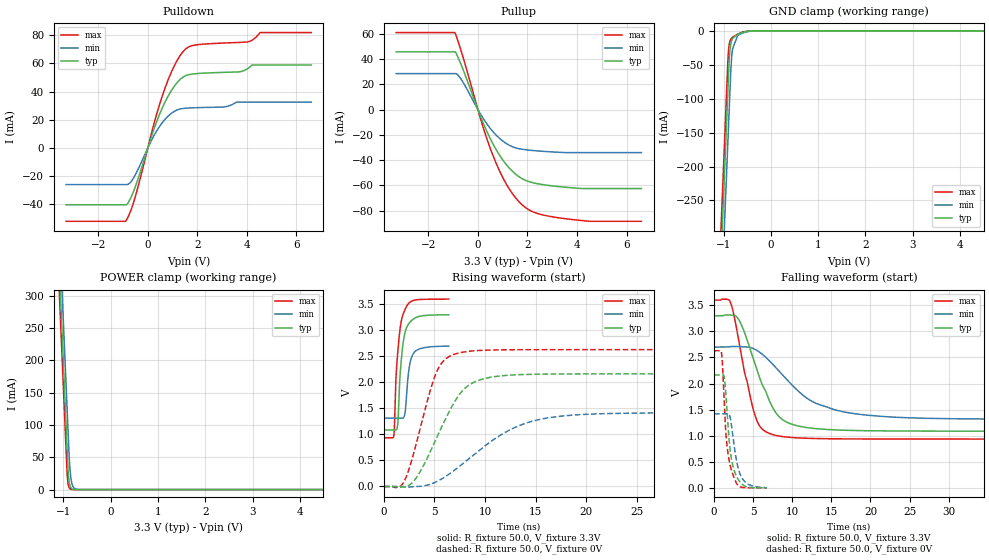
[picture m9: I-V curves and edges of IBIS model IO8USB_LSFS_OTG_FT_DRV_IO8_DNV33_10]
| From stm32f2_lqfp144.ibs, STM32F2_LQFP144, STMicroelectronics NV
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| *** New cell (Generated with 5.14beta1 (Sep 20 2010 13:23:23))
[Model]   IO8USB_LSFS_OTG_FT_DRV_IO8_DNV33_10
Model_type 3-state
Polarity   Non-Inverting
Enable   Active-Low
| CAP_THRESHOLD on pad DPV33 is "CMOS" :
| Rising=10.0% of vddio   Falling=90.0% of vddio
| C_comp min and max val. don't necessarily correlate with the min and max pvt
| but are the smallest and greatest pad capacitance found.
| var   typ   min   max
C_comp   5.85475pF  5.58530pF  6.39105pF
Vmeas = 1.65V   | Reference voltage for timing measurements
Cref  = 400.0pF   | Timing specification test load capacitance value
Rref  = 1.0MOhm   | Timing specification test load resistance value
Vref  = 1.65V   | Timing specification test load voltage
[Model Spec]
| variable   typ   min   max
[Temperature Range] 25.0 125.0 -40.0
| variable   typ   min   max
[Voltage Range] 3.3V 2.7V 3.6V
| variable   typ   min   max
[POWER Clamp Reference] 3.3V 2.7V 3.6V
| variable   typ   min   max
[GND Clamp Reference] 0V 0V 0V
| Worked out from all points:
|   slope of the pulldown table from 0 to 0.495 V, typ, clamps not added: 20 ohm
|   slope of the pullup table from 0 to 0.495 V, typ, clamps not added: 21.7 ohm
|   GND clamp passes 1 mA (typ) near -0.51 V on its own axis
|   POWER clamp passes 1 mA (typ) near -0.81 V on its own axis
|   rising waveform, R_fixture 50.0, V_fixture 3.3V: 20-80 % time 522ps typ, 458ps min, 538ps max; typ from 1.09 V to 3.3 V
|   falling waveform, R_fixture 50.0, V_fixture 3.3V: 20-80 % time 3.36ns typ, 6.4ns min, 2.22ns max; typ from 3.3 V to 1.09 V
|   rising waveform, R_fixture 50.0, V_fixture 0V: 20-80 % time 3.33ns typ, 6.19ns min, 2.23ns max; typ from 0 V to 2.17 V
|   falling waveform, R_fixture 50.0, V_fixture 0V: 20-80 % time 848ps typ, 986ps min, 769ps max; typ from 2.17 V to 0.001 V
[POWER Clamp]
-3.3V     4.11A      4.173A     4.072A
-1.09V    352.5mA    415.9mA    314.5mA
-1.05V    284.5mA    347.9mA    246.5mA
-1.01V    216.5mA    279.9mA    178.5mA
-920mV    63.51mA    126.9mA    25.85mA
-900mV    31.51mA    92.9mA     9.552mA
-890mV    21.35mA    75.9mA     5.807mA
-870mV    9.804mA    44.01mA    2.146mA
-840mV    3.05mA     18.36mA    482.1uA
-780mV    295.2uA    3.193mA    24.34uA
-660mV    2.775uA    96uA       63.85nA
6.6V      0A         0A         0A
[GND Clamp]
-3.3V     -4.155A    -4.23A     -4.11A
-1.06V    -347.4mA   -421.9mA   -301.9mA
-940mV    -143.4mA   -217.9mA   -97.86mA
-910mV    -92.43mA   -166.9mA   -46.86mA
-890mV    -58.43mA   -132.9mA   -25.36mA
-880mV    -43.4mA    -115.9mA   -20.1mA
-860mV    -25.79mA   -81.93mA   -14.41mA
-840mV    -17.12mA   -51.2mA    -11.69mA
-820mV    -12.64mA   -32.88mA   -10.09mA
-700mV    -5.102mA   -6.6mA     -4.73mA
-230mV    -826nA     -13.68uA   -47.8nA
6.6V      45.45nA    5.674uA    302.2pA
| variable   typ   min   max
[Pullup Reference] 3.3V 2.7V 3.6V
| variable   typ   min   max
[Pulldown Reference] 0V 0V 0V
[Pullup]
-3.3V     45.78mA    28.54mA    61.09mA
-930mV    45.78mA    28.54mA    61.09mA
-700mV    36.69mA    24.76mA    47.9mA
120mV     -6.142mA   -4.065mA   -8.189mA
590mV     -26.5mA    -17.07mA   -35.52mA
1.18V     -44.36mA   -27.27mA   -60.11mA
1.54V     -51.43mA   -30.39mA   -70.35mA
1.89V     -55.75mA   -31.69mA   -77.18mA
2.48V     -58.98mA   -32.83mA   -82.75mA
3.6V      -61.62mA   -34.07mA   -86.61mA
4.51V     -62.54mA   -34.07mA   -88.51mA
6.6V      -62.54mA   -34.07mA   -88.51mA
[Pulldown]
-3.3V     -40.26mA   -25.94mA   -51.99mA
-870mV    -40.25mA   -25.94mA   -51.33mA
-700mV    -35.92mA   -24.51mA   -45.06mA
-470mV    -25.89mA   -17.87mA   -32.39mA
240mV     12.97mA    8.52mA     16.62mA
590mV     28.62mA    18.11mA    37.2mA
1.07V     43.85mA    26mA       58.31mA
1.54V     51.42mA    28.24mA    70.48mA
2.01V     52.82mA    28.63mA    73.27mA
4.01V     56.01mA    32.56mA    75.18mA
4.53V     58.89mA    32.56mA    81.88mA
6.6V      58.89mA    32.56mA    81.88mA
[Ramp]
dV/dt_r 1.29886V/3.33719ns 851.30564mV/6.18971ns 1.57727V/2.2294ns
dV/dt_f 1.32782V/3.35516ns 831.60082mV/6.40782ns 1.59819V/2.21553ns
R_load = 50.0
| Removed startup time: 0s 0s 0s  .
| Removed end time: 6.407ns.
[Rising Waveform]
R_fixture   = 50.0
V_fixture   = 3.3V
V_fixture_min = 2.7V
V_fixture_max = 3.6V
0s        1.087V     1.314V     936.3mV
979ps     1.087V     1.314V     984mV
1.039ns   1.086V     1.314V     1.154V
1.165ns   1.084V     1.314V     1.992V
1.321ns   1.131V     1.314V     2.475V
1.648ns   2.276V     1.313V     3.102V
2.133ns   2.994V     1.483V     3.421V
2.481ns   3.135V     2.262V     3.525V
2.942ns   3.221V     2.562V     3.576V
6.409ns   3.298V     2.697V     3.599V
| Removed startup time: 0s 0s 0s  .
| Removed end time: 44.145ns.
[Falling Waveform]
R_fixture   = 50.0
V_fixture   = 3.3V
V_fixture_min = 2.7V
V_fixture_max = 3.6V
0s        3.3V       2.7V       3.6V
2.1ns     3.314V     2.709V     3.555V
3.385ns   3.163V     2.707V     2.632V
5.16ns    2.412V     2.661V     1.427V
5.915ns   2.074V     2.592V     1.168V
7.115ns   1.657V     2.429V     1.041V
9.56ns    1.241V     2.036V     970.5mV
12.44ns   1.145V     1.667V     948.3mV
16.6ns    1.105V     1.456V     939.3mV
44.16ns   1.087V     1.315V     936.3mV
| Removed startup time: 0s 0s 0s  .
| Removed end time: 35.255ns.
[Rising Waveform]
R_fixture   = 50.0
V_fixture   = 0V
V_fixture_min = 0V
V_fixture_max = 0V
0s        17.03nV    1.21uV     10.92nV
1.995ns   -6.593mV   -4.856mV   96.57mV
3.25ns    179.9mV    -2.259mV   862.3mV
5.1ns     888.7mV    82.89mV    2.15V
5.845ns   1.2V       160.8mV    2.402V
6.88ns    1.591V     298.4mV    2.535V
9.335ns   2.038V     679.2mV    2.612V
12.3ns    2.137V     1.072V     2.626V
15.3ns    2.157V     1.285V     2.628V
35.27ns   2.165V     1.419V     2.629V
| Removed startup time: 0s 0s 0s  .
| Removed end time: 6.76ns.
[Falling Waveform]
R_fixture   = 50.0
V_fixture   = 0V
V_fixture_min = 0V
V_fixture_max = 0V
0s        2.165V     1.419V     2.629V
928ps     2.165V     1.419V     2.603V
1.062ns   2.168V     1.419V     2.399V
1.29ns    2.129V     1.418V     1.665V
1.701ns   1.358V     1.423V     752.4mV
2.033ns   746.8mV    1.371V     447.7mV
2.458ns   391.2mV    927.2mV    235.7mV
3.034ns   174mV      404.2mV    50.77mV
3.672ns   60.28mV    166.7mV    7.902mV
6.762ns   674.8uV    3.311mV    457.1uV
